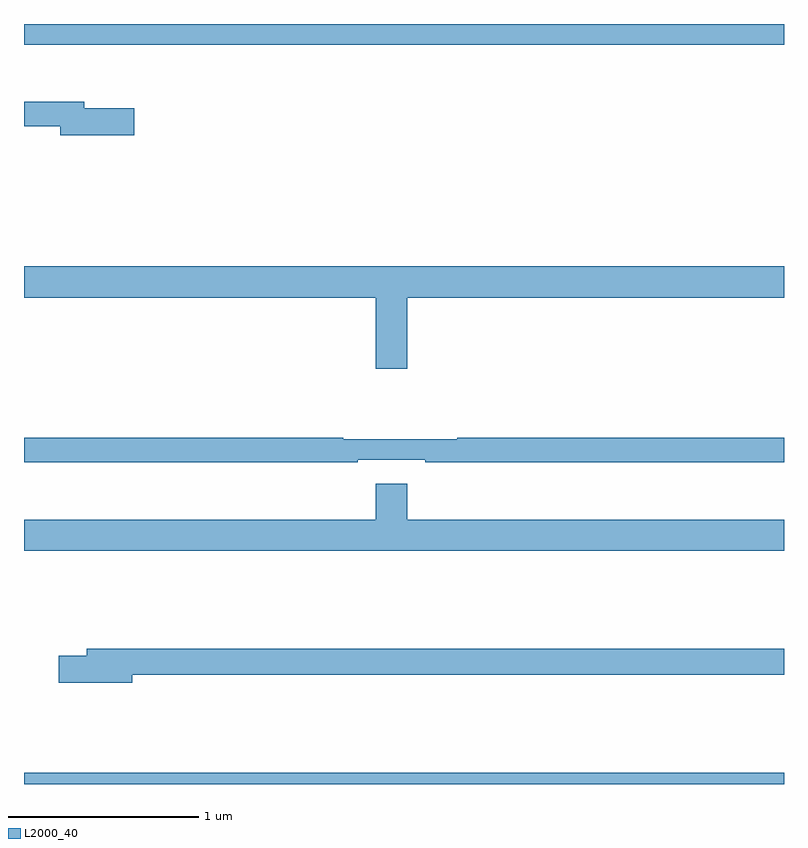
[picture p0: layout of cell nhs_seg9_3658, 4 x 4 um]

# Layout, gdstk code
import gdstk
lib = gdstk.Library(unit=1e-6, precision=1e-09)
def R(c, l, rs):  # rectangles x0, y0, x1, y1
    for r in rs: c.add(gdstk.rectangle(r[:2], r[2:], *l))
def P(c, l, *ps):  # polygons
    for p in ps: c.add(gdstk.Polygon(p, *l))
L2000_40 = (2000, 40)

nhs_seg9_3658 = lib.new_cell('nhs_seg9_3658')
R(nhs_seg9_3658, L2000_40, [(319,1220.5,323,1220.56), (319,1224.392,323,1224.5)])
P(nhs_seg9_3658, L2000_40, [(319.579,1224.057),(319.318,1224.057),(319.318,1224.091),(319,1224.091),(319,1223.962),(319.19,1223.962),(319.19,1223.915),(319.579,1223.915)],
  [(321.016,1223.06),(323,1223.06),(323,1223.224),(319,1223.224),(319,1223.06),(320.852,1223.06),(320.852,1222.686),(321.016,1222.686)],
  [(320.756,1222.206),(321.112,1222.206),(321.112,1222.194),(323,1222.194),(323,1222.322),(321.281,1222.322),(321.281,1222.315),(320.681,1222.315),(320.681,1222.322),(319,1222.322),(319,1222.194),(320.756,1222.194)],
  [(323,1221.892),(321.016,1221.892),(321.016,1222.081),(320.852,1222.081),(320.852,1221.892),(319,1221.892),(319,1221.728),(323,1221.728)],
  [(319.57,1221.076),(323,1221.076),(323,1221.212),(319.331,1221.212),(319.331,1221.176),(319.182,1221.176),(319.182,1221.034),(319.57,1221.034)])

lib.write_gds('nhs_seg9_3658.gds')
